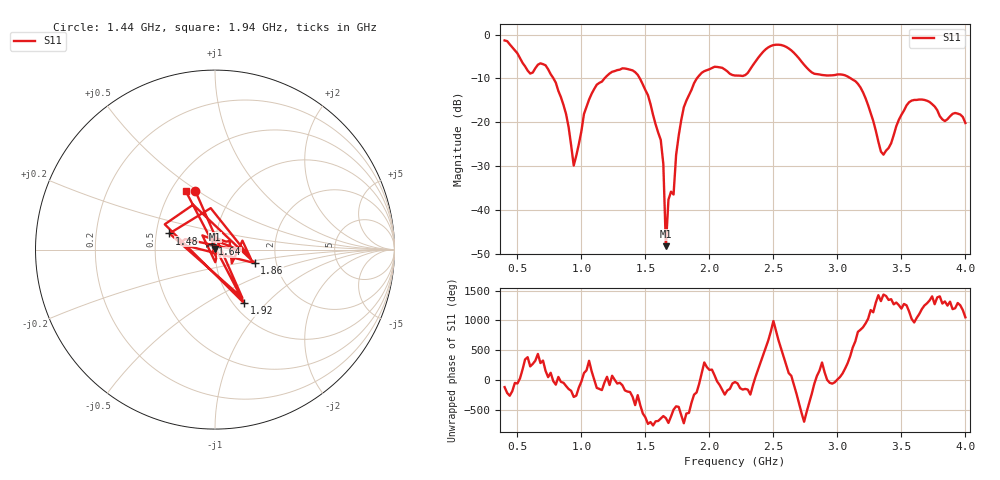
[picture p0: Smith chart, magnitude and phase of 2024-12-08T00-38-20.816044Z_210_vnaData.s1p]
!Created with skrf (http://scikit-rf.org).
# Hz S RI R 50.0
!freq ReS11 ImS11
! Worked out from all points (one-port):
!   181 points, 400 MHz to 4 GHz, reference 50 ohm
!   lowest |S11| = -48.3 dB at 1.66 GHz (marker M1), VSWR 1.01, Z = 50 + j0.384 ohm
!   |S11| at or under -10 dB: 781.6 MHz to 1.18 GHz (398.8 MHz wide, 40.7 % of centre); 1.456 GHz to 1.902 GHz (446 MHz wide, 26.6 % of centre); 3.104 GHz to end of sweep
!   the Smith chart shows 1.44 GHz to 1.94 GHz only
!   S11 on the Smith chart (normalised r, x): 1.44 GHz: 0.66, +0.49; 1.48 GHz: 0.59, +0.11; 1.64 GHz: 0.97, +0.06; 1.86 GHz: 1.54, -0.25; 1.92 GHz: 1.12, -0.76; 1.94 GHz: 0.59, +0.45
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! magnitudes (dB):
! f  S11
! 400 MHz  -1.4
! 600 MHz  -8.9
! 720 MHz  -7.0
! 860 MHz  -16.1
! 940 MHz  -29.9
! 1.02 GHz  -18.1
! 1.08 GHz  -13.5
! 1.3 GHz  -8.0
! 1.44 GHz  -9.2
! 1.48 GHz  -11.4
! 1.62 GHz  -24.0
! 1.64 GHz  -29.5
! 1.66 GHz  -48.3
! 1.68 GHz  -37.7
! 1.72 GHz  -36.5
! 1.76 GHz  -23.1
! 1.86 GHz  -12.6
! 1.92 GHz  -9.4
! 1.94 GHz  -8.7
! 2.2 GHz  -9.3
! 2.48 GHz  -2.6
! 2.66 GHz  -4.2
! 2.82 GHz  -8.9
! 3.1 GHz  -9.9
! 3.2 GHz  -13.2
! 3.36 GHz  -27.4
! 3.56 GHz  -15.4
! 4 GHz  -20.2
